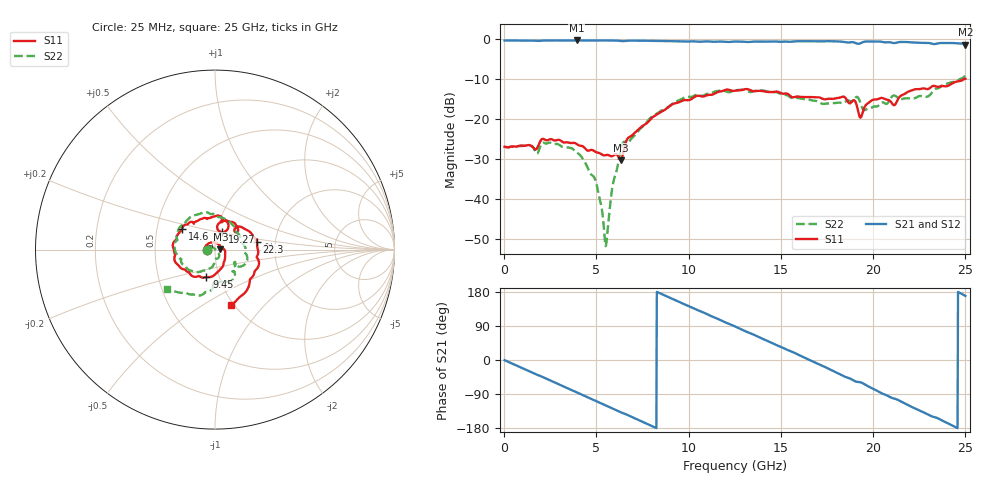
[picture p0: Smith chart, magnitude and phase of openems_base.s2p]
! RG_ts6_sw_gnd: Finite board 24 × 16 mm, ThunderScope stack, via F → In3 (stub to B) through In1 GND / In2 GND / In4 GND, four GND vias at 1 mm joined to In1 and In4 and In2
! stackup: ThunderScope Rev5.3 6-layer with the In2 plane
! ports: 1 F, 2 In3
! openEMS 0.37.0, staircase, base mesh (dfine 0.07 mm), 680400 cells
# Hz S RI R 50
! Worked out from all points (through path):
!   1000 points, 25 MHz to 25 GHz, reference 50 ohm
!   highest |S21| = -0.39 dB at 3.925 GHz (marker M1); lowest = -1.4 dB at 25 GHz (marker M2)
!   group delay of S21, straight-line fit = 60.8 ps
!   lowest |S11| = -30.3 dB at 6.325 GHz (marker M3), VSWR 1.06, Z = 53.1 + j0.226 ohm
!   |S11| at or under -10 dB: start of sweep to 24.96 GHz
!   |S22| runs from -51.8 to -9.2 dB; largest |S21 - S12| = 0.0099
!   S11 on the Smith chart (normalised r, x): 25 MHz: 0.91, +0.00; 9.45 GHz: 0.87, -0.27; 14.6 GHz: 0.67, +0.17; 19.27 GHz: 1.07, +0.21; 22.3 GHz: 1.59, +0.15; 25 GHz: 0.97, -0.66
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2.5e7  -0.045 0.000189  0.9556 -0.00917  0.9551 -0.00897  -0.0449 9.18e-05
2.025e9  -0.0554 0.00248  0.6897 -0.6544  0.6902 -0.6544  -0.0489 -0.00526
3.925e9  -0.0309 0.0378  0.0806 -0.9525  0.0824 -0.952  -0.0341 0.0178
4.2e9  -0.0237 0.0396  -0.0195 -0.9552  -0.0182 -0.9554  -0.0276 0.0189
4.975e9  0.0013 0.0386  -0.2958 -0.9079  -0.2941 -0.909  -0.0112 0.0119
5.525e9  0.0214 0.0283  -0.4795 -0.8256  -0.478 -0.8265  0.00257 0.0007
5.875e9  0.0307 0.0155  -0.5861 -0.7519  -0.5848 -0.7535  0.0111 -0.00945
6.325e9  0.0303 0.00213  -0.6997 -0.6298  -0.6985 -0.6316  0.0235 -0.0351
6.725e9  0.0568 -0.0125  -0.7869 -0.5329  -0.7861 -0.535  0.00496 -0.0509
8.35e9  0.027 -0.1134  -0.9445 0.0311  -0.9449 0.028  -0.0441 -0.1114
9.45e9  -0.0482 -0.1535  -0.8413 0.4086  -0.8422 0.4052  -0.1193 -0.1221
1.105e10  -0.1593 -0.1198  -0.4599 0.8082  -0.463 0.8056  -0.2035 -0.0396
1.2525e10  -0.2241 -0.0239  0.0277 0.9267  0.022 0.9261  -0.2144 0.0781
1.46e10  -0.1837 0.1168  0.679 0.6333  0.6734 0.638  -0.0764 0.2027
1.6675e10  -0.0825 0.1688  0.933 -0.045  0.9338 -0.0364  0.092 0.144
1.84e10  0.0217 0.1889  0.6749 -0.6197  0.6821 -0.6144  0.1561 0.03
1.9275e10  0.0415 0.0972  0.4568 -0.7463  0.4655 -0.7436  0.1375 -0.0952
1.995e10  0.0574 0.1626  0.24 -0.8991  0.2489 -0.9007  0.1147 -0.08
2.085e10  0.1279 0.1154  -0.0963 -0.9054  -0.0895 -0.9095  0.1072 -0.126
2.23e10  0.2314 0.0432  -0.5587 -0.7045  -0.556 -0.7106  0.0113 -0.1828
2.38e10  0.2063 -0.154  -0.8399 -0.2846  -0.8405 -0.2888  -0.0849 -0.2557
2.5e10  0.087 -0.3062  -0.8348 0.1617  -0.8349 0.1576  -0.2683 -0.2173
